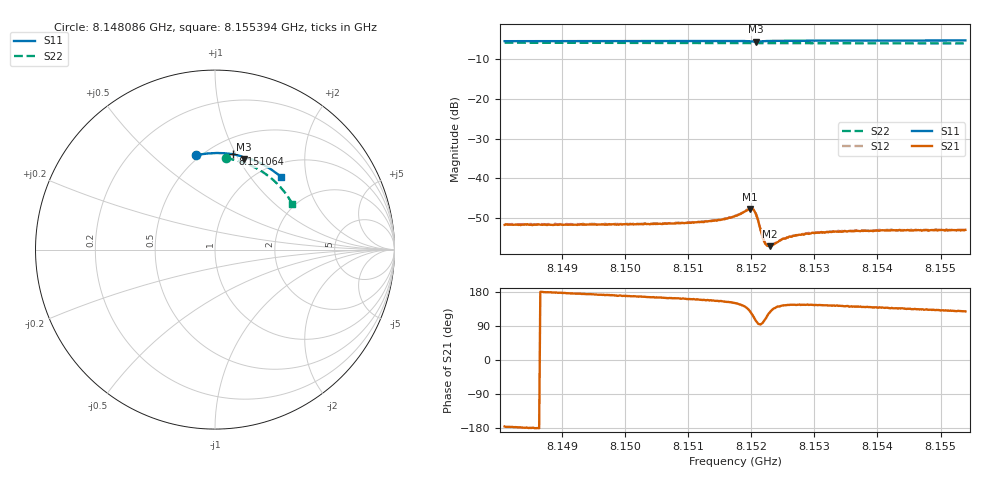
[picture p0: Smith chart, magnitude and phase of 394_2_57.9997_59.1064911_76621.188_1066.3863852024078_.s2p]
#  HZ  S  RI  R  50.00
! Rohde & Schwarz Vector Network Analyzer
! Rohde-Schwarz,ZNB20-2Port,1311601062101988,3.16
! Created: UTC 3/21/2024, 1:07:58 AM
! freq[Hz]  re:S11  im:S11  re:S21  im:S21  re:S12  im:S12  re:S22  im:S22
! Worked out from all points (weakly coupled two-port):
!   401 points, 8.148086 GHz to 8.155394 GHz, reference 50 ohm
!   highest |S21| = -47.67 dB at 8.151978 GHz (marker M1); lowest = -57.0 dB at 8.152288 GHz (marker M2)
!   lowest |S11| = -5.5 dB at 8.152069 GHz (marker M3), VSWR 3.24, Z = 37.8 + j52.7 ohm
!   |S11| at or under -10 dB: nowhere
!   |S22| runs from -6.0 to -5.8 dB; largest |S21 - S12| = 0.00011
!   S11 on the Smith chart (normalised r, x): 8.148086 GHz: 0.48, +0.70; 8.151064 GHz: 0.65, +0.97; 8.155394 GHz: 1.23, +1.43
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8.1480862e9  -0.1061 0.5248  -0.0026 -0.000212  -0.00266 -0.000141  0.0593 0.5087
8.1493103e9  -0.0216 0.5371  -0.00264 0.000271  -0.00264 0.000288  0.1369 0.4918
8.1505344e9  0.0635 0.5359  -0.0026 0.000698  -0.00262 0.000758  0.2104 0.4635
8.1510642e9  0.1004 0.5308  -0.00264 0.000943  -0.00265 0.000984  0.2405 0.4477
8.1514844e9  0.1297 0.525  -0.00272 0.00127  -0.00274 0.00126  0.2635 0.4336
8.1517402e9  0.1484 0.5194  -0.00292 0.00169  -0.00291 0.00172  0.277 0.4246
8.1519777e9  0.1643 0.5078  -0.00259 0.00323  -0.00256 0.0033  0.2894 0.4155
8.1520325e9  0.1643 0.504  -0.0017 0.00368  -0.00166 0.00371  0.2919 0.4135
8.152069e9  0.1629 0.5031  -0.000879 0.00351  -0.000869 0.00355  0.2936 0.4121
8.1521056e9  0.162 0.5045  -0.000313 0.00297  -0.000303 0.003  0.2954 0.4109
8.1521604e9  0.1641 0.5077  -0.000196 0.00204  -0.000152 0.00206  0.2982 0.409
8.1521969e9  0.1667 0.5092  -0.000355 0.00163  -0.000327 0.00161  0.3001 0.4077
8.1522335e9  0.1698 0.5098  -0.000527 0.00137  -0.000503 0.00139  0.3019 0.4063
8.1522517e9  0.1713 0.51  -0.000638 0.00127  -0.000637 0.00128  0.3029 0.4056
8.1522883e9  0.1746 0.51  -0.0008 0.00115  -0.000795 0.00116  0.3047 0.4041
8.1523614e9  0.1805 0.5093  -0.00109 0.00102  -0.00109 0.00106  0.3084 0.4011
8.1524892e9  0.1904 0.507  -0.00139 0.00102  -0.00138 0.00104  0.3147 0.3961
8.1526171e9  0.1994 0.5042  -0.00153 0.00104  -0.0015 0.00106  0.3209 0.3908
8.1529643e9  0.2227 0.4952  -0.00171 0.00118  -0.00169 0.00115  0.3372 0.3761
8.1534027e9  0.2506 0.4826  -0.00172 0.00129  -0.00171 0.00133  0.3569 0.3566
8.1541883e9  0.2983 0.4562  -0.00162 0.0015  -0.00163 0.00154  0.389 0.3191
8.1553941e9  0.3651 0.4069  -0.00139 0.00177  -0.00139 0.00175  0.4304 0.2563
